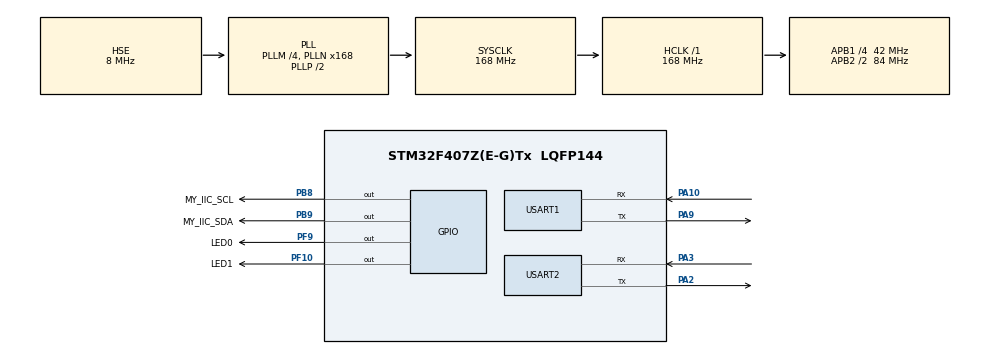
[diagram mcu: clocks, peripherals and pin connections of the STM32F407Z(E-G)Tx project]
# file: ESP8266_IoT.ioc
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Mcu.Family=STM32F4
Mcu.Name=STM32F407Z(E-G)Tx
Mcu.Package=LQFP144
NVIC.PriorityGroup=NVIC_PRIORITYGROUP_4
NVIC.TIM2_IRQn=true\:10\:0\:true\:false\:true\:true\:true
NVIC.USART2_IRQn=true\:0\:0\:false\:false\:true\:true\:true
PA10.Mode=Asynchronous
PA10.Signal=USART1_RX
PA13.Mode=Serial_Wire
PA13.Signal=SYS_JTMS-SWDIO
PA14.Mode=Serial_Wire
PA14.Signal=SYS_JTCK-SWCLK
PA2.Mode=Asynchronous
PA2.Signal=USART2_TX
PA3.Mode=Asynchronous
PA3.Signal=USART2_RX
PA9.Mode=Asynchronous
PA9.Signal=USART1_TX
PB8.GPIO_Label=MY_IIC_SCL
PB8.GPIO_PuPd=GPIO_PULLUP
PB8.GPIO_Speed=GPIO_SPEED_FREQ_VERY_HIGH
PB8.PinState=GPIO_PIN_SET
PB8.Signal=GPIO_Output
PB9.GPIO_Label=MY_IIC_SDA
PB9.GPIO_PuPd=GPIO_PULLUP
PB9.GPIO_Speed=GPIO_SPEED_FREQ_VERY_HIGH
PB9.PinState=GPIO_PIN_SET
PB9.Signal=GPIO_Output
PF10.GPIO_Label=LED1
PF10.PinState=GPIO_PIN_SET
PF10.Signal=GPIO_Output
PF9.GPIO_Label=LED0
PF9.PinState=GPIO_PIN_SET
PF9.Signal=GPIO_Output
PH0-OSC_IN.Mode=HSE-External-Oscillator
PH0-OSC_IN.Signal=RCC_OSC_IN
PH1-OSC_OUT.Mode=HSE-External-Oscillator
PH1-OSC_OUT.Signal=RCC_OSC_OUT
ProjectManager.HeapSize=0x200
ProjectManager.StackSize=0x400
ProjectManager.TargetToolchain=SW4STM32
RCC.48MHZClocksFreq_Value=84000000
RCC.AHBFreq_Value=168000000
RCC.APB1CLKDivider=RCC_HCLK_DIV4
RCC.APB1Freq_Value=42000000
RCC.APB1TimFreq_Value=84000000
RCC.APB2CLKDivider=RCC_HCLK_DIV2
RCC.APB2Freq_Value=84000000
RCC.APB2TimFreq_Value=168000000
RCC.CortexFreq_Value=168000000
RCC.HCLKFreq_Value=168000000
RCC.HSE_VALUE=8000000
RCC.HSI_VALUE=16000000
RCC.LSE_VALUE=32768
RCC.PLLM=4
RCC.PLLN=168
RCC.PLLSourceVirtual=RCC_PLLSOURCE_HSE
RCC.SYSCLKFreq_VALUE=168000000
RCC.SYSCLKSource=RCC_SYSCLKSOURCE_PLLCLK
RCC.VCOOutputFreq_Value=336000000
TIM2.AutoReloadPreload=TIM_AUTORELOAD_PRELOAD_ENABLE
TIM2.Period=4999
TIM2.Prescaler=8399
USART1.VirtualMode=VM_ASYNC
USART2.VirtualMode=VM_ASYNC
VP_TIM2_VS_ClockSourceINT.Mode=Internal
board=custom

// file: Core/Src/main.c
/* USER CODE BEGIN Header */
/**
  ******************************************************************************
  * @file           : main.c
  * @brief          : Main program body
  ******************************************************************************
  * @attention
  *
  * <h2><center>&copy; Copyright (c) 2020 STMicroelectronics.
  * All rights reserved.</center></h2>
  *
  * This software component is licensed by ST under BSD 3-Clause license,
  * the "License"; You may not use this file except in compliance with the
  * License. You may obtain a copy of the License at:
  *                        opensource.org/licenses/BSD-3-Clause
  *
  ******************************************************************************
  */
/* USER CODE END Header */
#include "main.h"
#include "tim.h"
#include "usart.h"
#include "gpio.h"

/* USER CODE BEGIN Includes */
#include <stdio.h>
#include <stdbool.h>
#include <string.h>
#include "sht30.h"
#include "ESP8266.h"
#include "ESP8266_MQTT.h"
/* USER CODE END Includes */

/* USER CODE BEGIN PD */
//WIFI configuration
#define WIFI_NAME     "OPPO R15 meng"
#define WIFI_PASSWD   "00000000"

//Ali IoT Sign up Configuration
#define MQTT_BROKERADDRESS              "a1BAujzY0ka.iot-as-mqtt.cn-shanghai.aliyuncs.com"
#define MQTT_BROKERPORT                 1883
#define MQTT_CLIENTID                   "1|securemode=3,signmethod=hmacsha1|"
#define MQTT_USARNAME                   "deviceSN2&a1BAujzY0ka"
#define MQTT_PASSWD                     "00714567B47DEF72E45FB1C1DFED077B196BDAB0"
#define	MQTT_PUBLISH_TOPIC              "/sys/a1BAujzY0ka/deviceSN2/thing/event/property/post"
#define MQTT_SUBSCRIBE_TOPIC            "/sys/a1BAujzY0ka/deviceSN2/thing/service/property/set"
/* USER CODE END PD */

/* USER CODE BEGIN PV */
bool LightSwitch = false;
bool SmokeAlarm = false;
/* USER CODE END PV */

void SystemClock_Config(void);

/* USER CODE BEGIN 0 */
void ESP8266_MQTT_Init(void)
{
    uint8_t status = 0;

    while(status < 5){
        //0.ESP8266 Init
        if(ESP8266_Init()){
            printf("ESP8266 Init OK!\r\n");
            status++;
        } else {
            printf("ESP8266 Init FAIL!\r\n");
        }
        //1.ESP8266 Connect AP
        if(status == 1){
            if(ESP8266_ConnectAP(WIFI_NAME, WIFI_PASSWD)){
                printf("ESP8266 Connect AP OK!\r\n");
                status++;
            } else {
                printf("ESP8266 Connect AP FAIL!\r\n");
            }
        }
        //2.connect Ali IoT Sever
        if(status == 2){
            if(ESP8266_ConnectServer("TCP", MQTT_BROKERADDRESS, MQTT_BROKERPORT) != 0){
                printf("ESP8266 Connect Server OK!\r\n");
                status++;
            } else {
                printf("ESP8266 Connect Server FAIL!\r\n");
            }
        }
        //3.MQTT Sign up AliCloud
        if(status == 3){
            if(MQTT_Connect(MQTT_CLIENTID, MQTT_USARNAME, MQTT_PASSWD) != 0){
                printf("ESP8266 Connect Aliyun OK!\r\n");
                status++;
            } else {
                printf("ESP8266 Connect Aliyun FAIL!\r\n");
            }
        }
        //4.Subscribe Topic
        if(status == 4){
            if(MQTT_SubscribeTopic(MQTT_SUBSCRIBE_TOPIC,0,1) != 0){
                printf("ESP8266 Subscribe Topic OK!\r\n");
                status++;
            } else {
                printf("ESP8266 Subscribe Topic FAIL!\r\n");
            }
        }
    }
}
/* USER CODE END 0 */

int main(void)
{
  /* USER CODE BEGIN 1 */
    float temperature;
    float humidity;
    char mqtt_message[300];	//MQTT data buffer
  /* USER CODE END 1 */

  /* MCU Configuration--------------------------------------------------------*/

  /* Reset of all peripherals, Initializes the Flash interface and the Systick. */
  HAL_Init();

  /* Configure the system clock */
  SystemClock_Config();

  /* Initialize all configured peripherals */
  MX_GPIO_Init();
  MX_TIM2_Init();
  MX_USART1_UART_Init();
  MX_USART2_UART_Init();
  /* USER CODE BEGIN 2 */
    SHT_Init();

    HAL_UART_Receive_IT(&huart2, &rx_byte, 1);
    ESP8266_MQTT_Init();

    HAL_TIM_Base_Start_IT(&htim2);
  /* USER CODE END 2 */

  /* Infinite loop */
  /* USER CODE BEGIN WHILE */
  while (1)
  {
      clear_rx_buf();
      sht30_data_process();
      temperature = data_process.SHT30_temperature / 10.0f;
      humidity = data_process.SHT30_humidity / 10.0f;
      sprintf(mqtt_message,
              "{"
              "\"method\":\"thing.event.property.post\","
              "\"id\":\"1\","
              "\"params\":{"
              "\"RoomTemp\":%.1f,"
              "\"RoomHumidity\":%.1f,"
              "\"LightSwitch\":%d,"
              "\"SmokeAlarm\":%d"
              "},"
              "\"version\":\"1.0\""
              "}",
              temperature, humidity, LightSwitch, SmokeAlarm);
//      printf("%s", mqtt_message);
      MQTT_PublishData(MQTT_PUBLISH_TOPIC, mqtt_message, 0);

      HAL_Delay(2000);

      if(rx_index > 0){
//          for (int i = 0; i < rx_index; ++i) {
//              printf("%c", rx_buf[i]);
//          }
          if(strstr((char *)(rx_buf+4), "\"LightSwitch\":1") != NULL) {
              printf("Open Light\r\n");
              LightSwitch = true;
          }
          else{
              printf("Close Light\r\n");
              LightSwitch = false;
          }
          clear_rx_buf();
      }

      if(LightSwitch == true){
          HAL_GPIO_WritePin(LED1_GPIO_Port, LED1_Pin, GPIO_PIN_RESET);
      }
      else{
          HAL_GPIO_WritePin(LED1_GPIO_Port, LED1_Pin, GPIO_PIN_SET);
      }
    /* USER CODE END WHILE */

  }
}

void SystemClock_Config(void)
{
  RCC_OscInitTypeDef RCC_OscInitStruct = {0};
  RCC_ClkInitTypeDef RCC_ClkInitStruct = {0};

  /** Configure the main internal regulator output voltage
  */
  __HAL_RCC_PWR_CLK_ENABLE();
  __HAL_PWR_VOLTAGESCALING_CONFIG(PWR_REGULATOR_VOLTAGE_SCALE1);
  /** Initializes the RCC Oscillators according to the specified parameters
  * in the RCC_OscInitTypeDef structure.
  */
  RCC_OscInitStruct.OscillatorType = RCC_OSCILLATORTYPE_HSE;
  RCC_OscInitStruct.HSEState = RCC_HSE_ON;
  RCC_OscInitStruct.PLL.PLLState = RCC_PLL_ON;
  RCC_OscInitStruct.PLL.PLLSource = RCC_PLLSOURCE_HSE;
  RCC_OscInitStruct.PLL.PLLM = 4;
  RCC_OscInitStruct.PLL.PLLN = 168;
  RCC_OscInitStruct.PLL.PLLP = RCC_PLLP_DIV2;
  RCC_OscInitStruct.PLL.PLLQ = 4;
  if (HAL_RCC_OscConfig(&RCC_OscInitStruct) != HAL_OK)
  {
    Error_Handler();
  }
  /** Initializes the CPU, AHB and APB buses clocks
  */
  RCC_ClkInitStruct.ClockType = RCC_CLOCKTYPE_HCLK|RCC_CLOCKTYPE_SYSCLK
                              |RCC_CLOCKTYPE_PCLK1|RCC_CLOCKTYPE_PCLK2;
  RCC_ClkInitStruct.SYSCLKSource = RCC_SYSCLKSOURCE_PLLCLK;
  RCC_ClkInitStruct.AHBCLKDivider = RCC_SYSCLK_DIV1;
  RCC_ClkInitStruct.APB1CLKDivider = RCC_HCLK_DIV4;
  RCC_ClkInitStruct.APB2CLKDivider = RCC_HCLK_DIV2;

  if (HAL_RCC_ClockConfig(&RCC_ClkInitStruct, FLASH_LATENCY_5) != HAL_OK)
  {
    Error_Handler();
  }
}

void Error_Handler(void)
{
  __disable_irq();
  while (1)
  {
  }
}

/************************ (C) COPYRIGHT STMicroelectronics *****END OF FILE****/
